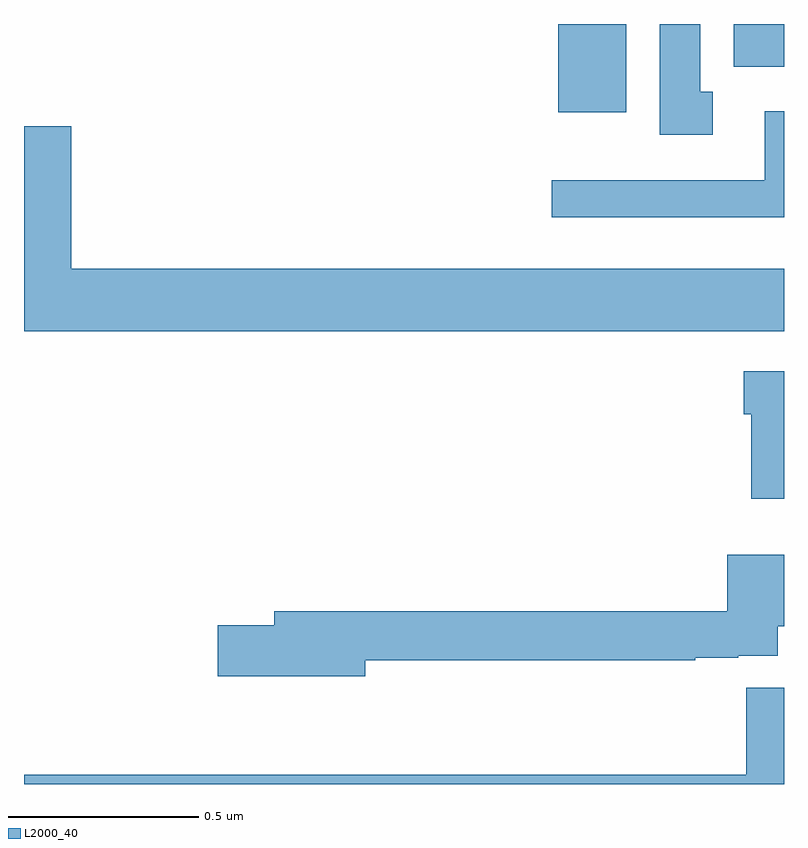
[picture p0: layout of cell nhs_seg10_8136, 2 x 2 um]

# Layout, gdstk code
import gdstk
lib = gdstk.Library(unit=1e-6, precision=1e-09)
def R(c, l, rs):  # rectangles x0, y0, x1, y1
    for r in rs: c.add(gdstk.rectangle(r[:2], r[2:], *l))
def P(c, l, *ps):  # polygons
    for p in ps: c.add(gdstk.Polygon(p, *l))
L2000_40 = (2000, 40)

nhs_seg10_8136 = lib.new_cell('nhs_seg10_8136')
R(nhs_seg10_8136, L2000_40, [(214.406,1258.268,214.585,1258.5), (214.868,1258.388,215,1258.5)])
P(nhs_seg10_8136, L2000_40, [(214.813,1258.322),(214.78,1258.322),(214.78,1258.5),(214.673,1258.5),(214.673,1258.209),(214.813,1258.209)],
  [(215,1258.27),(214.949,1258.27),(214.949,1258.089),(214.389,1258.089),(214.389,1257.992),(215,1257.992)],
  [(215,1257.856),(213.124,1257.856),(213.124,1258.231),(213,1258.231),(213,1257.692),(215,1257.692)],
  [(215,1257.586),(214.894,1257.586),(214.894,1257.473),(214.914,1257.473),(214.914,1257.251),(215,1257.251)],
  [(213.898,1256.826),(214.766,1256.826),(214.766,1256.832),(214.88,1256.832),(214.88,1256.838),(214.984,1256.838),(214.984,1256.915),(215,1256.915),(215,1257.103),(214.85,1257.103),(214.85,1256.954),(213.659,1256.954),(213.659,1256.918),(213.51,1256.918),(213.51,1256.783),(213.898,1256.783)],
  [(215,1256.753),(214.9,1256.753),(214.9,1256.524),(213,1256.524),(213,1256.5),(215,1256.5)])

lib.write_gds('nhs_seg10_8136.gds')
